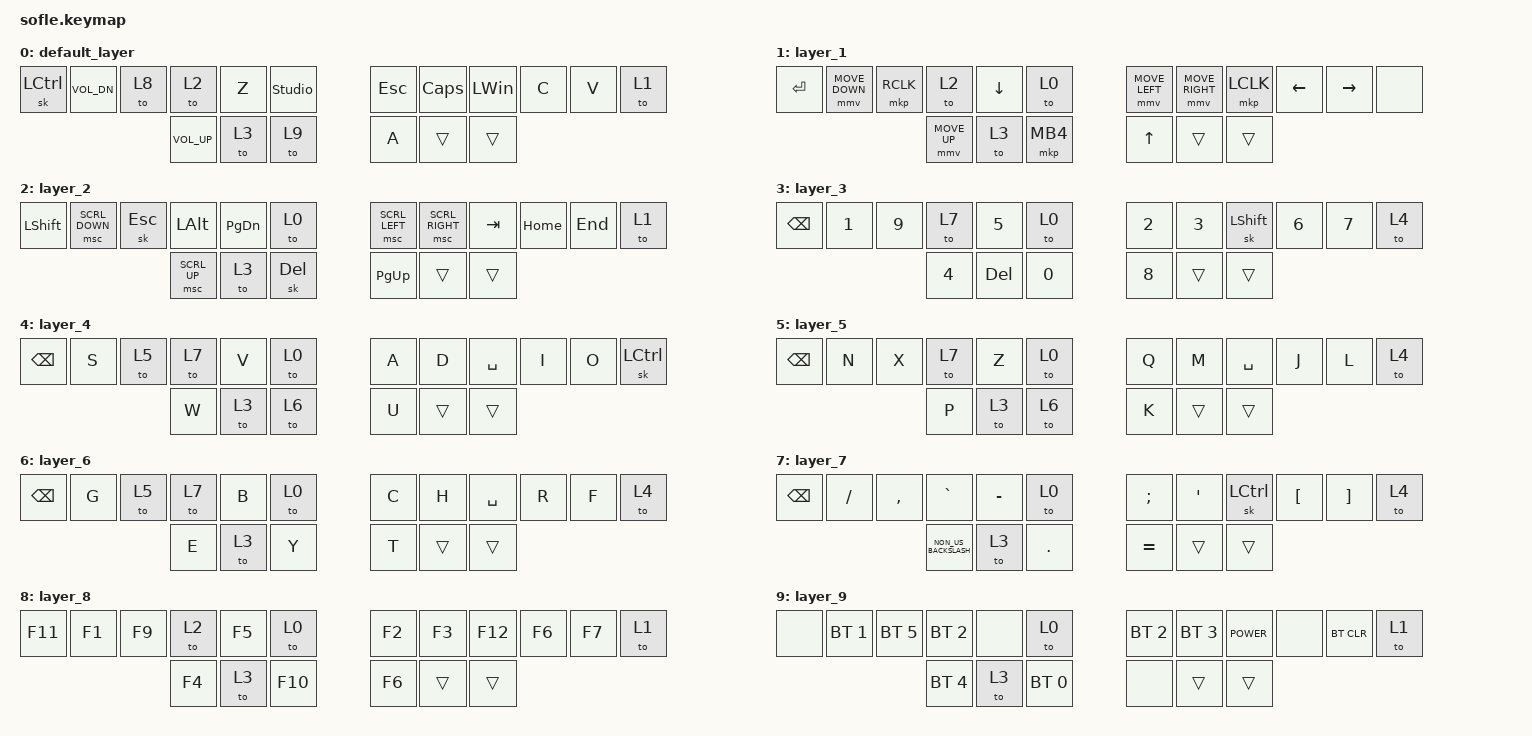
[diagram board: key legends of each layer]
/*
 * Copyright (c) 2020 The ZMK Contributors
 *
 * SPDX-License-Identifier: MIT
 */
// #define ZMK_POINTING_DEFAULT_MOVE_VAL 200  
// default: 600
// #define ZMK_POINTING_DEFAULT_SCRL_VAL 7    
// default: 10

#include <behaviors.dtsi>
#include <dt-bindings/zmk/bt.h>
#include <dt-bindings/zmk/keys.h>
#include <dt-bindings/zmk/pointing.h>

/ {
    // Activate ADJUST layer by pressing raise and lower

    conditional_layers {
        compatible = "zmk,conditional-layers";

        adjust_layer {
            if-layers = <0 0>;
            then-layer = <0>;
        };
    };

    keymap {
        compatible = "zmk,keymap";

        default_layer {
            bindings = <
&sk LCTRL     &kp C_VOL_DN  &to 8  &to 2  &kp Z   &studio_unlock        &kp ESCAPE  &kp CAPS  &kp LEFT_WIN  &kp C  &kp V  &to 1
&kp C_VOL_UP  &to 3         &to 9  &kp A  &trans  &trans
            >;
        };

        layer_1 {
            bindings = <
&kp RET       &mmv MOVE_DOWN  &mkp RCLK  &to 2         &kp DOWN_ARROW  &to 0         &mmv MOVE_LEFT  &mmv MOVE_RIGHT  &mkp LCLK  &kp LEFT_ARROW  &kp RIGHT_ARROW  &none
&mmv MOVE_UP  &to 3           &mkp MB4   &kp UP_ARROW  &trans          &trans
            >;
        };

        layer_2 {
            bindings = <
&kp LEFT_SHIFT  &msc SCRL_DOWN  &sk ESCAPE  &kp LEFT_ALT  &kp PG_DN  &to 0         &msc SCRL_LEFT  &msc SCRL_RIGHT  &kp TAB  &kp HOME  &kp END  &to 1
&msc SCRL_UP    &to 3           &sk DELETE  &kp PG_UP     &trans     &trans
            >;
        };

        layer_3 {
            bindings = <
&kp BACKSPACE    &kp NUMBER_1  &kp NUMBER_9  &to 7         &kp NUMBER_5  &to 0         &kp NUMBER_2  &kp NUMBER_3  &sk LEFT_SHIFT  &kp NUMBER_6  &kp NUMBER_7  &to 4
&kp NUMBER_4     &kp DELETE    &kp NUMBER_0  &kp NUMBER_8  &trans        &trans
            >;
        };

        layer_4 {
            bindings = <
&kp BACKSPACE  &kp S  &to 5  &to 7  &kp V   &to 0         &kp A  &kp D  &kp SPACE  &kp I  &kp O  &sk LCTRL
&kp W          &to 3  &to 6  &kp U  &trans  &trans
            >;
        };

        layer_5 {
            bindings = <
&kp BACKSPACE  &kp N  &kp X  &to 7  &kp Z   &to 0         &kp Q  &kp M  &kp SPACE  &kp J  &kp L  &to 4
&kp P          &to 3  &to 6  &kp K  &trans  &trans
            >;
        };

        layer_6 {
            bindings = <
&kp BACKSPACE  &kp G  &to 5  &to 7  &kp B   &to 0         &kp C  &kp H  &kp SPACE  &kp R  &kp F  &to 4
&kp E          &to 3  &kp Y  &kp T  &trans  &trans
            >;
        };

        layer_7 {
            bindings = <
&kp BACKSPACE         &kp SLASH  &kp COMMA   &kp GRAVE  &kp MINUS  &to 0         &kp SEMICOLON  &kp SQT  &sk LCTRL  &kp LEFT_BRACKET  &kp RIGHT_BRACKET  &to 4
&kp NON_US_BACKSLASH  &to 3      &kp PERIOD  &kp EQUAL  &trans     &trans
            >;
        };

        layer_8 {
            bindings = <
&kp F11  &kp F1  &kp F9   &to 2   &kp F5  &to 0         &kp F2  &kp F3  &kp F12  &kp F6  &kp F7  &to 1
&kp F4   &to 3   &kp F10  &kp F6  &trans  &trans
            >;
        };

        layer_9 {
            bindings = <
&none         &bt BT_SEL 1  &bt BT_SEL 5  &bt BT_SEL 2  &none   &to 0         &bt BT_SEL 2  &bt BT_SEL 3  &kp C_POWER  &none  &bt BT_CLR  &to 1
&bt BT_SEL 4  &to 3         &bt BT_SEL 0  &none         &trans  &trans
            >;
        };
    };
};
